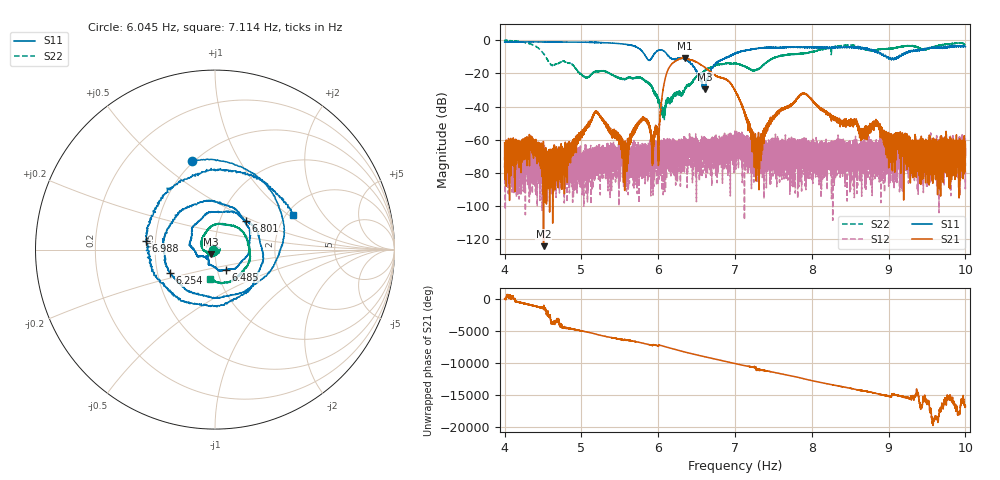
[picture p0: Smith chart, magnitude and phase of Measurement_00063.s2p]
!Created with skrf (http://scikit-rf.org).
# Hz S RI R 50.0
!freq ReS11 ImS11 ReS21 ImS21 ReS12 ImS12 ReS22 ImS22
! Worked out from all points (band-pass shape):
!   14001 points, 4 Hz to 10 Hz, reference 50 ohm
!   highest |S21| = -10.72 dB at 6.344 Hz (marker M1); lowest = -124.1 dB at 4.507 Hz (marker M2)
!   |S21| within 3 dB of the highest: 6.19 Hz to 6.518 Hz (327.9 mHz wide, 5.16 % of centre); 6.518286 Hz to 6.519287 Hz (1.001 mHz wide, 0.0154 % of centre)
!   lowest |S11| = -29.6 dB at 6.611 Hz (marker M3), VSWR 1.07, Z = 47.9 - j2.44 ohm
!   |S11| at or under -10 dB: 5.84 Hz to 5.926 Hz (85.62 mHz wide, 1.46 % of centre); 6.142 Hz to 6.906 Hz (764.2 mHz wide, 11.7 % of centre); 8.968 Hz to 9.135 Hz (167 mHz wide, 1.85 % of centre) (the widest 3 of 10)
!   |S22| runs from -48.2 to -0.2 dB; largest |S21 - S12| = 0.29
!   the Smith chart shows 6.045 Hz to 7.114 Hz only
!   S11 on the Smith chart (normalised r, x): 6.045 Hz: 0.49, +0.65; 6.254 Hz: 0.58, -0.16; 6.485 Hz: 1.10, -0.25; 6.801 Hz: 1.32, +0.45; 6.988 Hz: 0.44, +0.05; 7.114 Hz: 2.17, +1.08
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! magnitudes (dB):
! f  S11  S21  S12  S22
! 4 Hz  -1.1  -61.8  -77.3  -0.3
! 4.507 Hz  -1.1  -124.1  -70.6  -8.2
! 5 Hz  -1.2  -55.6  -75.9  -20.7
! 5.193 Hz  -1.4  -43.0  -67.2  -18.8
! 5.569 Hz  -2.5  -60.7  -72.9  -23.6
! 5.794 Hz  -6.8  -47.7  -67.6  -22.9
! 6 Hz  -6.2  -63.6  -73.3  -35.8
! 6.045 Hz  -5.9  -36.2  -72.7  -40.2
! 6.122 Hz  -8.9  -18.5  -71.7  -36.5
! 6.254 Hz  -11.0  -11.8  -65.8  -32.5
! 6.344 Hz  -11.2  -10.7  -63.0  -30.1
! 6.485 Hz  -17.9  -13.0  -66.1  -22.5
! 6.611 Hz  -29.6  -16.6  -71.5  -18.2
! 6.801 Hz  -12.6  -22.4  -63.7  -14.6
! 6.988 Hz  -8.3  -29.4  -65.5  -14.0
! 7 Hz  -8.1  -30.4  -58.4  -14.0
! 7.114 Hz  -6.5  -42.0  -66.4  -15.6
! 7.294 Hz  -4.9  -61.3  -60.6  -17.3
! 7.578 Hz  -4.6  -42.8  -69.3  -9.6
! 8 Hz  -4.5  -35.6  -69.0  -6.9
! 9 Hz  -10.9  -63.7  -68.1  -5.0
! 10 Hz  -4.0  -69.1  -71.2  -3.1
